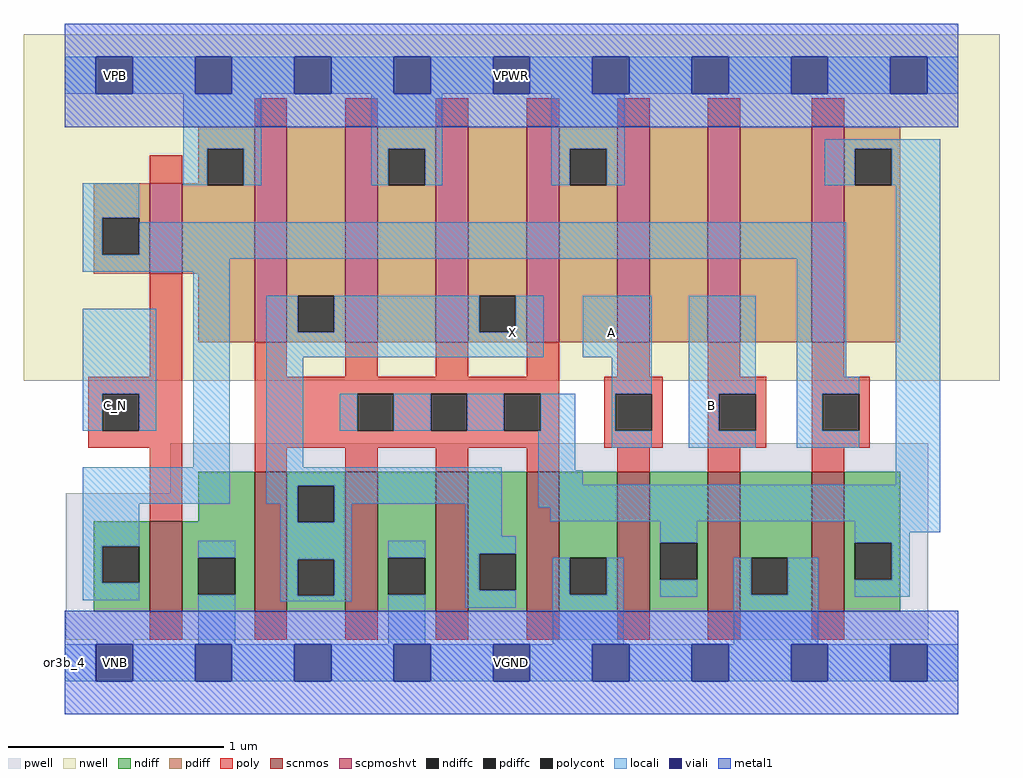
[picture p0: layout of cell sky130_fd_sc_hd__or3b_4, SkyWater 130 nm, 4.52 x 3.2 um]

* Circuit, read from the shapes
.subckt sky130_fd_sc_hd__or3b_4 A B C_N VGND VNB VPB VPWR X
XM1 VGND C_N n1 VNB sky130_fd_pr__nfet_01v8 w=0.42 l=0.15
XM2 X n2 VGND VNB sky130_fd_pr__nfet_01v8 w=0.65 l=0.15 m=4
XM3 n2 A VGND VNB sky130_fd_pr__nfet_01v8 w=0.65 l=0.15
XM4 VGND B n2 VNB sky130_fd_pr__nfet_01v8 w=0.65 l=0.15
XM5 n2 n1 VGND VNB sky130_fd_pr__nfet_01v8 w=0.65 l=0.15
XM6 VPWR C_N n1 VPB sky130_fd_pr__pfet_01v8_hvt w=0.42 l=0.15
XM7 X n2 VPWR VPB sky130_fd_pr__pfet_01v8_hvt w=1 l=0.15 m=4
XM8 n3 A VPWR VPB sky130_fd_pr__pfet_01v8_hvt w=1 l=0.15
XM9 n4 B n3 VPB sky130_fd_pr__pfet_01v8_hvt w=1 l=0.15
XM10 n2 n1 n4 VPB sky130_fd_pr__pfet_01v8_hvt w=1 l=0.15
.ends

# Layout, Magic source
magic
tech sky130A
magscale 1 2
<< nwell >>
rect -38 261 866 582
<< pwell >>
rect 98 157 800 203
rect 1 21 800 157
rect 30 -17 64 21
<< scnmos >>
rect 79 47 109 131
rect 176 47 206 177
rect 260 47 290 177
rect 344 47 374 177
rect 428 47 458 177
rect 512 47 542 177
rect 596 47 626 177
rect 692 47 722 177
<< scpmoshvt >>
rect 79 360 109 444
rect 176 297 206 497
rect 260 297 290 497
rect 344 297 374 497
rect 428 297 458 497
rect 512 297 542 497
rect 596 297 626 497
rect 692 297 722 497
<< ndiff >>
rect 124 131 176 177
rect 27 108 79 131
rect 27 74 35 108
rect 69 74 79 108
rect 27 47 79 74
rect 109 97 176 131
rect 109 63 124 97
rect 158 63 176 97
rect 109 47 176 63
rect 206 164 260 177
rect 206 130 216 164
rect 250 130 260 164
rect 206 96 260 130
rect 206 62 216 96
rect 250 62 260 96
rect 206 47 260 62
rect 290 97 344 177
rect 290 63 300 97
rect 334 63 344 97
rect 290 47 344 63
rect 374 101 428 177
rect 374 67 384 101
rect 418 67 428 101
rect 374 47 428 67
rect 458 97 512 177
rect 458 63 468 97
rect 502 63 512 97
rect 458 47 512 63
rect 542 111 596 177
rect 542 77 552 111
rect 586 77 596 111
rect 542 47 596 77
rect 626 97 692 177
rect 626 63 636 97
rect 670 63 692 97
rect 626 47 692 63
rect 722 111 774 177
rect 722 77 732 111
rect 766 77 774 111
rect 722 47 774 77
<< pdiff >>
rect 124 476 176 497
rect 124 444 132 476
rect 27 412 79 444
rect 27 378 35 412
rect 69 378 79 412
rect 27 360 79 378
rect 109 442 132 444
rect 166 442 176 476
rect 109 360 176 442
rect 124 297 176 360
rect 206 340 260 497
rect 206 306 216 340
rect 250 306 260 340
rect 206 297 260 306
rect 290 476 344 497
rect 290 442 300 476
rect 334 442 344 476
rect 290 297 344 442
rect 374 340 428 497
rect 374 306 384 340
rect 418 306 428 340
rect 374 297 428 306
rect 458 476 512 497
rect 458 442 468 476
rect 502 442 512 476
rect 458 297 512 442
rect 542 297 596 497
rect 626 297 692 497
rect 722 476 774 497
rect 722 442 732 476
rect 766 442 774 476
rect 722 297 774 442
<< ndiffc >>
rect 35 74 69 108
rect 124 63 158 97
rect 216 130 250 164
rect 216 62 250 96
rect 300 63 334 97
rect 384 67 418 101
rect 468 63 502 97
rect 552 77 586 111
rect 636 63 670 97
rect 732 77 766 111
<< pdiffc >>
rect 35 378 69 412
rect 132 442 166 476
rect 216 306 250 340
rect 300 442 334 476
rect 384 306 418 340
rect 468 442 502 476
rect 732 442 766 476
<< poly >>
rect 176 497 206 523
rect 260 497 290 523
rect 344 497 374 523
rect 428 497 458 523
rect 512 497 542 523
rect 596 497 626 523
rect 692 497 722 523
rect 79 444 109 470
rect 79 265 109 360
rect 22 249 109 265
rect 22 215 35 249
rect 69 215 109 249
rect 22 199 109 215
rect 79 131 109 199
rect 176 265 206 297
rect 260 265 290 297
rect 344 265 374 297
rect 428 265 458 297
rect 512 265 542 297
rect 596 265 626 297
rect 692 265 722 297
rect 176 249 458 265
rect 176 215 271 249
rect 305 215 339 249
rect 373 215 407 249
rect 441 215 458 249
rect 176 199 458 215
rect 500 249 554 265
rect 500 215 510 249
rect 544 215 554 249
rect 500 199 554 215
rect 596 249 650 265
rect 596 215 606 249
rect 640 215 650 249
rect 596 199 650 215
rect 692 249 746 265
rect 692 215 702 249
rect 736 215 746 249
rect 692 199 746 215
rect 176 177 206 199
rect 260 177 290 199
rect 344 177 374 199
rect 428 177 458 199
rect 512 177 542 199
rect 596 177 626 199
rect 692 177 722 199
rect 79 21 109 47
rect 176 21 206 47
rect 260 21 290 47
rect 344 21 374 47
rect 428 21 458 47
rect 512 21 542 47
rect 596 21 626 47
rect 692 21 722 47
<< polycont >>
rect 35 215 69 249
rect 271 215 305 249
rect 339 215 373 249
rect 407 215 441 249
rect 510 215 544 249
rect 606 215 640 249
rect 702 215 736 249
<< locali >>
rect 0 527 29 561
rect 63 527 121 561
rect 155 527 213 561
rect 247 527 305 561
rect 339 527 397 561
rect 431 527 489 561
rect 523 527 581 561
rect 615 527 673 561
rect 707 527 765 561
rect 799 527 828 561
rect 110 476 182 527
rect 17 412 69 444
rect 110 442 132 476
rect 166 442 182 476
rect 284 476 350 527
rect 284 442 300 476
rect 334 442 350 476
rect 451 476 519 527
rect 451 442 468 476
rect 502 442 519 476
rect 704 476 811 485
rect 704 442 732 476
rect 766 442 811 476
rect 17 378 35 412
rect 69 378 724 408
rect 17 374 724 378
rect 17 362 153 374
rect 17 249 85 328
rect 17 215 35 249
rect 69 215 85 249
rect 119 181 153 362
rect 17 147 153 181
rect 187 306 216 340
rect 250 306 384 340
rect 418 306 444 340
rect 187 283 444 306
rect 480 283 544 340
rect 187 181 221 283
rect 507 249 544 283
rect 255 215 271 249
rect 305 215 339 249
rect 373 215 407 249
rect 441 215 473 249
rect 187 164 405 181
rect 187 147 216 164
rect 17 108 69 147
rect 200 130 216 147
rect 250 147 405 164
rect 250 130 266 147
rect 17 74 35 108
rect 17 58 69 74
rect 124 97 158 113
rect 124 17 158 63
rect 200 96 266 130
rect 371 117 405 147
rect 439 178 473 215
rect 507 215 510 249
rect 507 199 544 215
rect 578 249 640 340
rect 578 215 606 249
rect 578 199 640 215
rect 678 265 724 374
rect 678 249 736 265
rect 678 215 702 249
rect 678 199 736 215
rect 439 165 480 178
rect 770 165 811 442
rect 439 144 811 165
rect 450 131 811 144
rect 200 62 216 96
rect 250 62 266 96
rect 200 57 266 62
rect 300 97 334 113
rect 300 17 334 63
rect 371 101 418 117
rect 371 67 384 101
rect 552 111 586 131
rect 371 51 418 67
rect 452 63 468 97
rect 502 63 518 97
rect 452 17 518 63
rect 732 121 811 131
rect 732 111 783 121
rect 552 61 586 77
rect 620 63 636 97
rect 670 63 698 97
rect 620 17 698 63
rect 766 77 783 111
rect 732 61 783 77
rect 0 -17 29 17
rect 63 -17 121 17
rect 155 -17 213 17
rect 247 -17 305 17
rect 339 -17 397 17
rect 431 -17 489 17
rect 523 -17 581 17
rect 615 -17 673 17
rect 707 -17 765 17
rect 799 -17 828 17
<< viali >>
rect 29 527 63 561
rect 121 527 155 561
rect 213 527 247 561
rect 305 527 339 561
rect 397 527 431 561
rect 489 527 523 561
rect 581 527 615 561
rect 673 527 707 561
rect 765 527 799 561
rect 29 -17 63 17
rect 121 -17 155 17
rect 213 -17 247 17
rect 305 -17 339 17
rect 397 -17 431 17
rect 489 -17 523 17
rect 581 -17 615 17
rect 673 -17 707 17
rect 765 -17 799 17
<< metal1 >>
rect 0 561 828 592
rect 0 527 29 561
rect 63 527 121 561
rect 155 527 213 561
rect 247 527 305 561
rect 339 527 397 561
rect 431 527 489 561
rect 523 527 581 561
rect 615 527 673 561
rect 707 527 765 561
rect 799 527 828 561
rect 0 496 828 527
rect 0 17 828 48
rect 0 -17 29 17
rect 63 -17 121 17
rect 155 -17 213 17
rect 247 -17 305 17
rect 339 -17 397 17
rect 431 -17 489 17
rect 523 -17 581 17
rect 615 -17 673 17
rect 707 -17 765 17
rect 799 -17 828 17
rect 0 -48 828 -17
<< labels >>
flabel locali s 490 289 524 323 0 FreeSans 400 0 0 0 A
port 1 nsew signal input
flabel locali s 582 221 616 255 0 FreeSans 400 0 0 0 B
port 2 nsew signal input
flabel locali s 30 221 64 255 0 FreeSans 400 0 0 0 C_N
port 3 nsew signal input
flabel locali s 398 289 432 323 0 FreeSans 200 180 0 0 X
port 8 nsew signal output
flabel pwell s 30 -17 64 17 0 FreeSans 200 0 0 0 VNB
port 5 nsew ground bidirectional
flabel nwell s 30 527 64 561 0 FreeSans 200 0 0 0 VPB
port 6 nsew power bidirectional
flabel metal1 s 30 -17 64 17 0 FreeSans 200 0 0 0 VGND
port 4 nsew ground bidirectional abutment
flabel metal1 s 30 527 64 561 0 FreeSans 200 0 0 0 VPWR
port 7 nsew power bidirectional abutment
rlabel comment s 0 0 0 0 4 or3b_4
rlabel metal1 s 0 -48 828 48 1 VGND
port 4 nsew ground bidirectional abutment
rlabel metal1 s 0 496 828 592 1 VPWR
port 7 nsew power bidirectional abutment
<< properties >>
string FIXED_BBOX 0 0 828 544
string GDS_END 1048222
string GDS_FILE $PDKPATH/libs.ref/sky130_fd_sc_hd/gds/sky130_fd_sc_hd.gds
string GDS_START 1041788
string LEFclass CORE
string LEFsite unithd
string LEFsymmetry X Y R90
string path 0.000 0.000 4.140 0.000 
<< end >>
